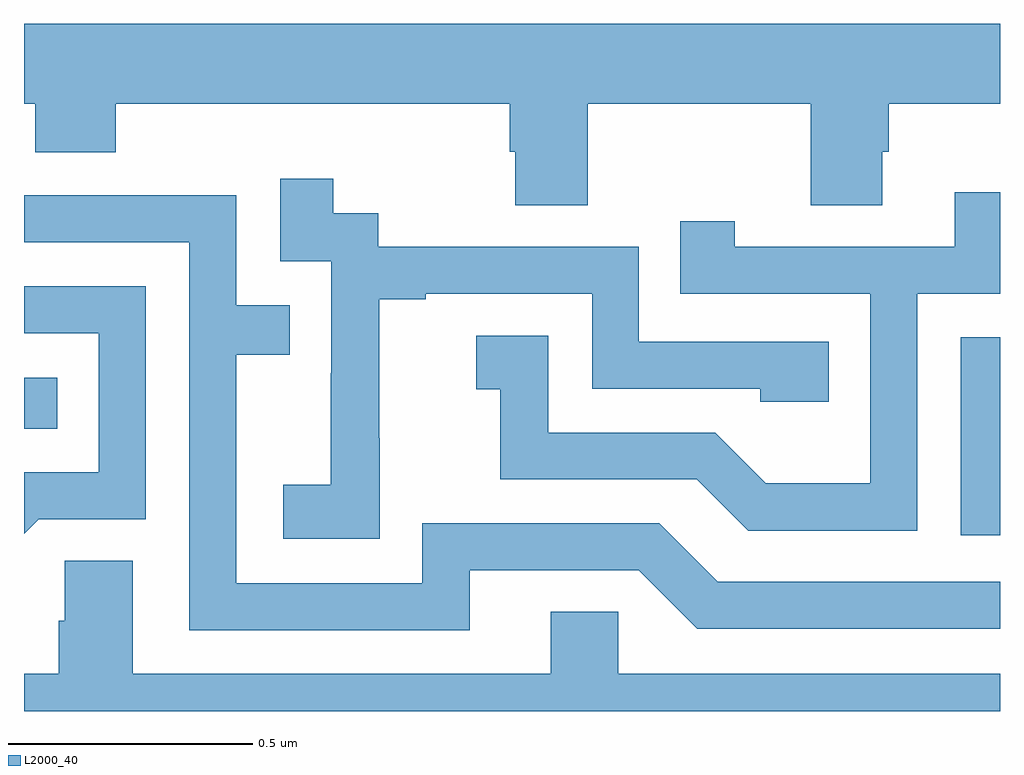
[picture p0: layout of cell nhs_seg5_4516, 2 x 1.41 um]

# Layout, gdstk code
import gdstk
lib = gdstk.Library(unit=1e-6, precision=1e-09)
def R(c, l, rs):  # rectangles x0, y0, x1, y1
    for r in rs: c.add(gdstk.rectangle(r[:2], r[2:], *l))
def P(c, l, *ps):  # polygons
    for p in ps: c.add(gdstk.Polygon(p, *l))
L2000_40 = (2000, 40)

nhs_seg5_4516 = lib.new_cell('nhs_seg5_4516')
R(nhs_seg5_4516, L2000_40, [(172.92,905.16,173,905.565), (171,905.378,171.068,905.482)])
P(nhs_seg5_4516, L2000_40, [(171,906.044),(171.023,906.044),(171.023,905.945),(171.188,905.945),(171.188,906.044),(171.995,906.044),(171.995,905.946),(172.007,905.946),(172.007,905.836),(172.155,905.836),(172.155,906.044),(172.612,906.044),(172.612,905.836),(172.759,905.836),(172.759,905.946),(172.772,905.946),(172.772,906.044),(173,906.044),(173,906.208),(171,906.208)],
  [(171.729,905.359),(171.728,905.359),(171.728,905.643),(171.823,905.643),(171.823,905.655),(172.164,905.655),(172.164,905.46),(172.509,905.46),(172.509,905.433),(172.649,905.433),(172.649,905.556),(172.26,905.556),(172.26,905.751),(171.726,905.751),(171.726,905.82),(171.634,905.82),(171.634,905.89),(171.525,905.89),(171.525,905.721),(171.63,905.721),(171.63,905.492),(171.629,905.492),(171.629,905.263),(171.531,905.263),(171.531,905.153),(171.729,905.153)],
  [(172.83,905.655),(173,905.655),(173,905.863),(172.907,905.863),(172.907,905.751),(172.456,905.751),(172.456,905.803),(172.345,905.803),(172.345,905.655),(172.734,905.655),(172.734,905.266),(172.52,905.266),(172.416,905.37),(172.074,905.37),(172.074,905.569),(171.927,905.569),(171.927,905.459),(171.976,905.459),(171.976,905.274),(172.379,905.274),(172.484,905.169),(172.83,905.169)],
  [(171.913,905.088),(172.26,905.088),(172.38,904.968),(173,904.968),(173,905.064),(172.422,905.064),(172.302,905.184),(171.816,905.184),(171.816,905.061),(171.435,905.061),(171.435,905.53),(171.545,905.53),(171.545,905.631),(171.435,905.631),(171.435,905.856),(171,905.856),(171,905.76),(171.339,905.76),(171.339,904.965),(171.913,904.965)],
  [(171.03,905.193),(171.249,905.193),(171.249,905.67),(171,905.67),(171,905.574),(171.153,905.574),(171.153,905.289),(171,905.289),(171,905.163)],
  [(173,904.876),(172.218,904.876),(172.218,905.003),(172.079,905.003),(172.079,904.876),(171.223,904.876),(171.223,905.108),(171.084,905.108),(171.084,904.985),(171.071,904.985),(171.071,904.876),(171,904.876),(171,904.799),(173,904.799)])

lib.write_gds('nhs_seg5_4516.gds')
